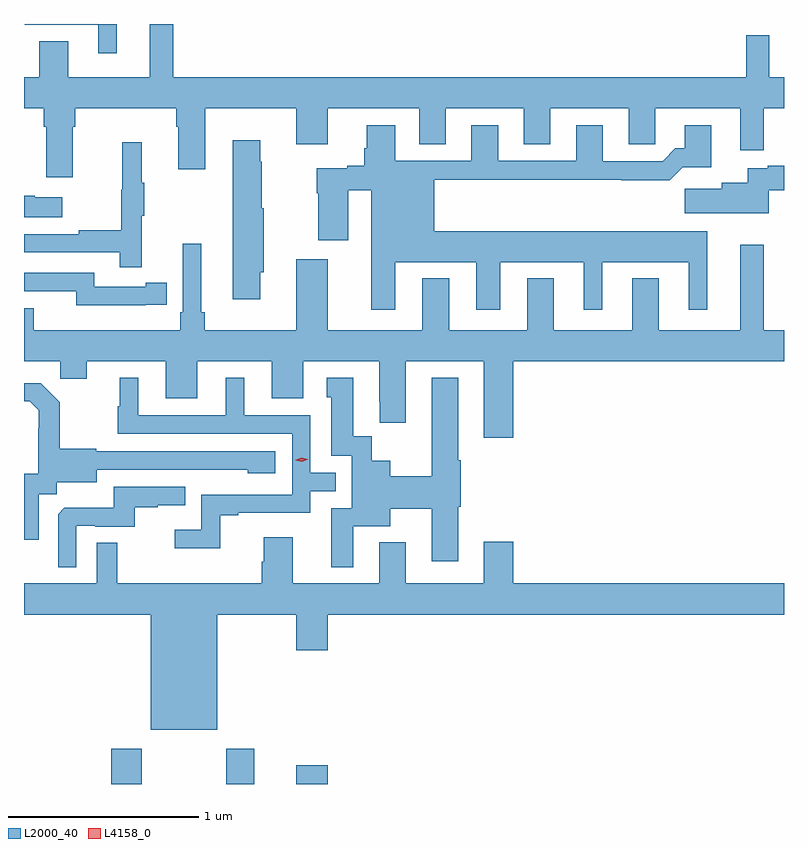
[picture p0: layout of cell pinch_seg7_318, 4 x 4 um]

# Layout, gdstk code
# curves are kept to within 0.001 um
import gdstk
lib = gdstk.Library(unit=1e-6, precision=1e-09)
def R(c, l, rs):  # rectangles x0, y0, x1, y1
    for r in rs: c.add(gdstk.rectangle(r[:2], r[2:], *l))
def P(c, l, *ps):  # polygons
    for p in ps: c.add(gdstk.Polygon(p, *l))
L2000_40 = (2000, 40)
L4158_0 = (4158, 0)

pinch_seg7_318 = lib.new_cell('pinch_seg7_318')
R(pinch_seg7_318, L2000_40, [(427.769,1058.332,427.929,1058.518), (428.374,1058.332,428.521,1058.518), (428.744,1058.332,428.908,1058.431)])
P(pinch_seg7_318, L2000_40, [(427.567,1061.792),(427.58,1061.792),(427.58,1061.888),(428.111,1061.888),(428.111,1061.792),(428.123,1061.792),(428.123,1061.568),(428.263,1061.568),(428.263,1061.888),(428.744,1061.888),(428.744,1061.7),(428.908,1061.7),(428.908,1061.888),(429.389,1061.888),(429.389,1061.698),(429.529,1061.698),(429.529,1061.888),(429.941,1061.888),(429.941,1061.698),(430.081,1061.698),(430.081,1061.888),(430.493,1061.888),(430.493,1061.698),(430.632,1061.698),(430.632,1061.888),(431.081,1061.888),(431.081,1061.667),(431.203,1061.667),(431.203,1061.888),(431.31,1061.888),(431.31,1062.052),(431.233,1062.052),(431.233,1062.274),(431.112,1062.274),(431.112,1062.052),(428.095,1062.052),(428.095,1062.332),(427.973,1062.332),(427.973,1062.052),(427.543,1062.052),(427.543,1062.242),(427.391,1062.242),(427.391,1062.052),(427.31,1062.052),(427.31,1061.888),(427.415,1061.888),(427.415,1061.792),(427.427,1061.792),(427.427,1061.526),(427.567,1061.526)],
  [(427.798,1062.332),(427.315,1062.332),(427.315,1062.327),(427.7,1062.327),(427.7,1062.177),(427.798,1062.177)],
  [(429.265,1061.078),(429.689,1061.078),(429.689,1060.827),(429.817,1060.827),(429.817,1061.078),(430.256,1061.078),(430.256,1060.827),(430.354,1060.827),(430.354,1061.078),(430.808,1061.078),(430.808,1060.827),(430.906,1060.827),(430.906,1061.242),(429.469,1061.242),(429.469,1061.512),(430.453,1061.512),(430.453,1061.51),(430.709,1061.51),(430.778,1061.579),(430.927,1061.579),(430.927,1061.8),(430.787,1061.8),(430.787,1061.677),(430.738,1061.677),(430.671,1061.61),(430.357,1061.61),(430.357,1061.8),(430.217,1061.8),(430.217,1061.613),(429.805,1061.613),(429.805,1061.8),(429.665,1061.8),(429.665,1061.613),(429.265,1061.613),(429.265,1061.8),(429.113,1061.8),(429.113,1061.679),(429.101,1061.679),(429.101,1061.587),(429.012,1061.587),(429.012,1061.574),(428.851,1061.574),(428.851,1061.441),(428.858,1061.441),(428.858,1061.193),(429.016,1061.193),(429.016,1061.458),(429.137,1061.458),(429.137,1060.827),(429.265,1060.827)],
  [(428.554,1061.025),(428.572,1061.025),(428.572,1061.361),(428.562,1061.361),(428.562,1061.606),(428.554,1061.606),(428.554,1061.719),(428.408,1061.719),(428.408,1060.884),(428.554,1060.884)],
  [(427.931,1061.323),(427.942,1061.323),(427.942,1061.497),(427.931,1061.497),(427.931,1061.71),(427.828,1061.71),(427.828,1061.46),(427.821,1061.46),(427.821,1061.246),(427.597,1061.246),(427.597,1061.226),(427.31,1061.226),(427.31,1061.13),(427.813,1061.13),(427.813,1061.052),(427.931,1061.052)],
  [(431.23,1061.458),(431.31,1061.458),(431.31,1061.587),(431.224,1061.587),(431.224,1061.574),(431.12,1061.574),(431.12,1061.497),(430.982,1061.497),(430.982,1061.465),(430.788,1061.465),(430.788,1061.336),(431.23,1061.336)],
  [(427.51,1061.419),(427.367,1061.419),(427.367,1061.429),(427.31,1061.429),(427.31,1061.315),(427.51,1061.315)],
  [(431.31,1060.72),(431.203,1060.72),(431.203,1061.17),(431.081,1061.17),(431.081,1060.72),(430.651,1060.72),(430.651,1060.993),(430.511,1060.993),(430.511,1060.72),(430.099,1060.72),(430.099,1060.993),(429.959,1060.993),(429.959,1060.72),(429.547,1060.72),(429.547,1060.993),(429.407,1060.993),(429.407,1060.72),(428.908,1060.72),(428.908,1061.095),(428.744,1061.095),(428.744,1060.72),(428.261,1060.72),(428.261,1060.816),(428.242,1060.816),(428.242,1061.176),(428.145,1061.176),(428.145,1060.816),(428.132,1060.816),(428.132,1060.72),(427.36,1060.72),(427.36,1060.837),(427.31,1060.837),(427.31,1060.556),(427.501,1060.556),(427.501,1060.466),(427.639,1060.466),(427.639,1060.556),(428.057,1060.556),(428.057,1060.362),(428.221,1060.362),(428.221,1060.556),(428.615,1060.556),(428.615,1060.362),(428.779,1060.362),(428.779,1060.556),(429.179,1060.556),(429.179,1060.345),(429.182,1060.345),(429.182,1060.233),(429.319,1060.233),(429.319,1060.556),(429.731,1060.556),(429.731,1060.155),(429.884,1060.155),(429.884,1060.556),(431.31,1060.556)],
  [(427.952,1060.854),(428.06,1060.854),(428.06,1060.97),(427.952,1060.97),(427.952,1060.95),(427.68,1060.95),(427.68,1061.022),(427.31,1061.022),(427.31,1060.926),(427.584,1060.926),(427.584,1060.853),(427.952,1060.853)],
  [(428.343,1059.747),(428.437,1059.747),(428.437,1059.759),(428.817,1059.759),(428.817,1059.873),(428.95,1059.873),(428.95,1059.969),(428.817,1059.969),(428.817,1060.272),(428.47,1060.272),(428.47,1060.471),(428.372,1060.471),(428.372,1060.272),(427.912,1060.272),(427.912,1060.471),(427.814,1060.471),(427.814,1060.32),(427.803,1060.32),(427.803,1060.176),(428.721,1060.176),(428.721,1059.855),(428.244,1059.855),(428.244,1059.67),(428.103,1059.67),(428.103,1059.572),(428.343,1059.572)],
  [(429.043,1059.689),(429.238,1059.689),(429.238,1059.781),(429.455,1059.781),(429.455,1059.504),(429.595,1059.504),(429.595,1059.792),(429.608,1059.792),(429.608,1060.036),(429.595,1060.036),(429.595,1060.471),(429.455,1060.471),(429.455,1059.953),(429.238,1059.953),(429.238,1060.033),(429.141,1060.033),(429.141,1060.163),(429.043,1060.163),(429.043,1060.471),(428.903,1060.471),(428.903,1060.368),(428.927,1060.368),(428.927,1060.059),(429.036,1060.059),(429.036,1059.783),(428.927,1059.783),(428.927,1059.474),(429.043,1059.474)],
  [(427.387,1059.856),(427.482,1059.856),(427.482,1059.92),(427.693,1059.92),(427.693,1059.987),(428.487,1059.986),(428.487,1059.968),(428.632,1059.968),(428.632,1060.083),(427.689,1060.083),(427.689,1060.096),(427.497,1060.096),(427.497,1060.341),(427.397,1060.441),(427.31,1060.441),(427.31,1060.347),(427.341,1060.347),(427.388,1060.3),(427.388,1060.205),(427.386,1060.205),(427.386,1059.964),(427.31,1059.964),(427.31,1059.618),(427.387,1059.618)],
  [(427.584,1059.69),(427.684,1059.69),(427.684,1059.687),(427.892,1059.687),(427.892,1059.789),(428.015,1059.789),(428.015,1059.8),(428.159,1059.8),(428.159,1059.897),(427.782,1059.897),(427.782,1059.785),(427.523,1059.785),(427.491,1059.753),(427.491,1059.473),(427.584,1059.473)],
  [(428.326,1059.224),(428.744,1059.224),(428.744,1059.036),(428.908,1059.036),(428.908,1059.224),(431.31,1059.224),(431.31,1059.388),(429.884,1059.388),(429.884,1059.607),(429.731,1059.607),(429.731,1059.388),(429.319,1059.388),(429.319,1059.604),(429.179,1059.604),(429.179,1059.388),(428.725,1059.388),(428.725,1059.631),(428.573,1059.631),(428.573,1059.501),(428.561,1059.501),(428.561,1059.388),(427.801,1059.388),(427.801,1059.602),(427.692,1059.602),(427.692,1059.388),(427.31,1059.388),(427.31,1059.224),(427.976,1059.224),(427.976,1058.618),(428.326,1058.618)])
P(pinch_seg7_318, L4158_0, [(428.772,1060.028),(428.737,1060.036),(428.737,1060.036),(428.737,1060.036),(428.77,1060.048),(428.805,1060.041),(428.806,1060.041),(428.805,1060.041)])

lib.write_gds('pinch_seg7_318.gds')
